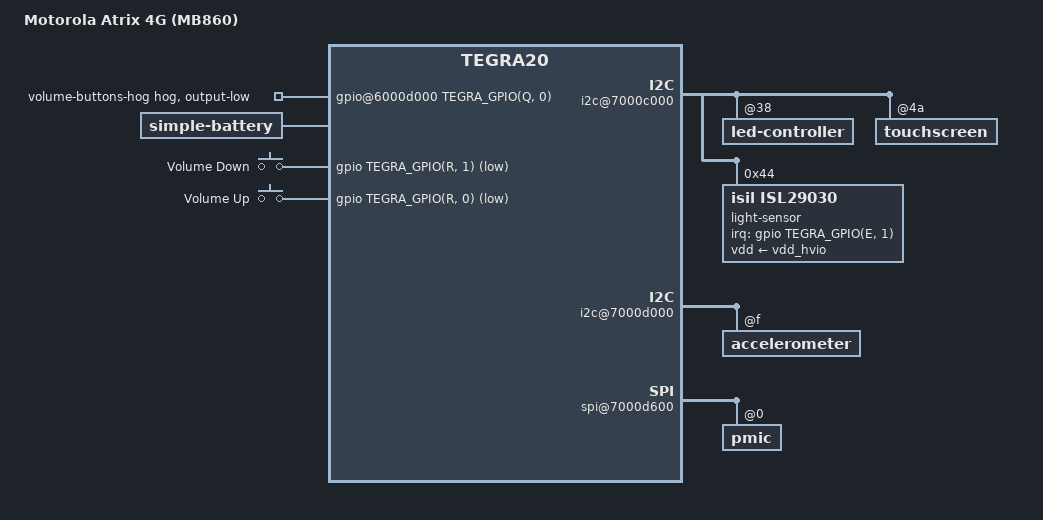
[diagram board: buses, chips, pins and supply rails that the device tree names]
// SPDX-License-Identifier: GPL-2.0
/dts-v1/;

#include "tegra20-motorola-mot.dtsi"

/ {
	model = "Motorola Atrix 4G (MB860)";
	compatible = "motorola,olympus", "nvidia,tegra20";

	gpio@6000d000 {
		volume-buttons-hog {
			gpio-hog;
			gpios = <TEGRA_GPIO(Q, 0) GPIO_ACTIVE_HIGH>;
			output-low;
		};
	};

	i2c@7000c000 {
		led-controller@38 {
			led@1 {
				reg = <1>;

				led-sources = <1 2>;
				led-max-microamp = <8200>;

				ti,led-mode = <0>;
				ti,linear-mapping-mode;

				label = ":keypad";
			};
		};

		touchscreen@4a {
			touchscreen-size-x = <930>;
			touchscreen-size-y = <1018>;
			touchscreen-min-x = <0>;

			/* Buttons are just a part of touchscreen */
		};

		light-sensor@44 {
			compatible = "isil,isl29030";
			reg = <0x44>;

			interrupt-parent = <&gpio>;
			interrupts = <TEGRA_GPIO(E, 1) IRQ_TYPE_LEVEL_LOW>;

			vdd-supply = <&vdd_hvio>;
		};
	};

	i2c@7000d000 {
		accelerometer@f {
			mount-matrix =	 "1",  "0",  "0",
					 "0",  "1",  "0",
					 "0",  "0", "-1";
		};
	};

	spi@7000d600 {
		pmic@0 {
			led-adl {
				status = "disabled";
			};
		};
	};

	/* Motorola BH6X battery cell */
	battery: battery-cell {
		compatible = "simple-battery";
		device-chemistry = "lithium-ion-polymer";

		voltage-min-design-microvolt = <3200000>;
		voltage-max-design-microvolt = <4200000>;

		charge-full-design-microamp-hours = <1880000>;
		energy-full-design-microwatt-hours = <7000000>;

		constant-charge-voltage-max-microvolt = <4200000>;
		operating-range-celsius = <0 45>;
	};

	gpio-keys {
		compatible = "gpio-keys";

		key-volume-down {
			label = "Volume Down";
			gpios = <&gpio TEGRA_GPIO(R, 1) GPIO_ACTIVE_LOW>;
			linux,code = <KEY_VOLUMEDOWN>;
			debounce-interval = <10>;
			wakeup-event-action = <EV_ACT_ASSERTED>;
			wakeup-source;
		};

		key-volume-up {
			label = "Volume Up";
			gpios = <&gpio TEGRA_GPIO(R, 0) GPIO_ACTIVE_LOW>;
			linux,code = <KEY_VOLUMEUP>;
			debounce-interval = <10>;
			wakeup-event-action = <EV_ACT_ASSERTED>;
			wakeup-source;
		};
	};

	sound {
		nvidia,model = "Motorola Atrix 4G (MB860) CPCAP";
	};
};
